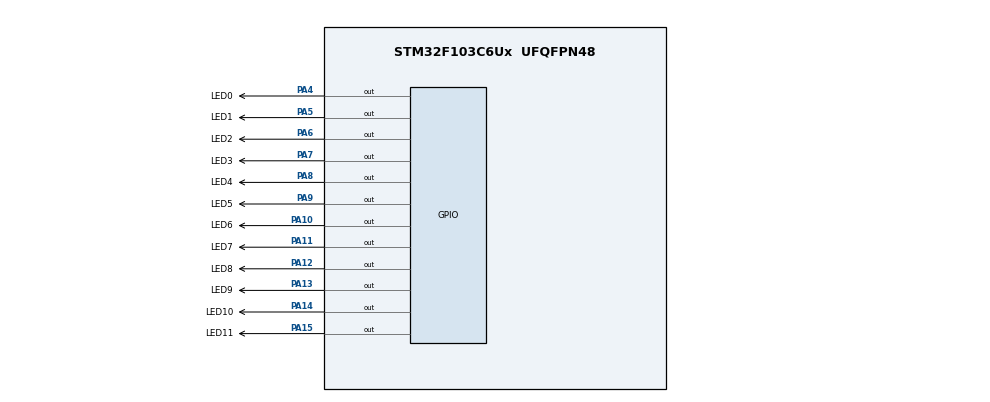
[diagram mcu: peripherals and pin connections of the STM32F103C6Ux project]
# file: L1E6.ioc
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Mcu.Family=STM32F1
Mcu.Name=STM32F103C6Ux
Mcu.Package=UFQFPN48
NVIC.PriorityGroup=NVIC_PRIORITYGROUP_4
PA10.GPIO_Label=LED6
PA10.Signal=GPIO_Output
PA11.GPIO_Label=LED7
PA11.Signal=GPIO_Output
PA12.GPIO_Label=LED8
PA12.Signal=GPIO_Output
PA13.GPIO_Label=LED9
PA13.Signal=GPIO_Output
PA14.GPIO_Label=LED10
PA14.Signal=GPIO_Output
PA15.GPIO_Label=LED11
PA15.Signal=GPIO_Output
PA4.GPIO_Label=LED0
PA4.Signal=GPIO_Output
PA5.GPIO_Label=LED1
PA5.Signal=GPIO_Output
PA6.GPIO_Label=LED2
PA6.Signal=GPIO_Output
PA7.GPIO_Label=LED3
PA7.Signal=GPIO_Output
PA8.GPIO_Label=LED4
PA8.Signal=GPIO_Output
PA9.GPIO_Label=LED5
PA9.Signal=GPIO_Output
ProjectManager.HeapSize=0x200
ProjectManager.StackSize=0x400
ProjectManager.TargetToolchain=STM32CubeIDE
RCC.APB1Freq_Value=8000000
RCC.APB2Freq_Value=8000000
VP_SYS_VS_ND.Mode=No_Debug
board=custom

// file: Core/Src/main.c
/* USER CODE BEGIN Header */
/**
  ******************************************************************************
  * @file           : main.c
  * @brief          : Main program body
  ******************************************************************************
  * @attention
  *
  * <h2><center>&copy; Copyright (c) 2023 STMicroelectronics.
  * All rights reserved.</center></h2>
  *
  * This software component is licensed by ST under BSD 3-Clause license,
  * the "License"; You may not use this file except in compliance with the
  * License. You may obtain a copy of the License at:
  *                        opensource.org/licenses/BSD-3-Clause
  *
  ******************************************************************************
  */
/* USER CODE END Header */
#include "main.h"

void SystemClock_Config(void);
static void MX_GPIO_Init(void);
/* USER CODE BEGIN PFP */
void testClock(int);
/* USER CODE END PFP */

int main(void)
{

  /* MCU Configuration--------------------------------------------------------*/

  /* Reset of all peripherals, Initializes the Flash interface and the Systick. */
  HAL_Init();

  /* Configure the system clock */
  SystemClock_Config();

  /* Initialize all configured peripherals */
  MX_GPIO_Init();

  /* Infinite loop */
  /* USER CODE BEGIN WHILE */
  int num = 0;
  HAL_GPIO_WritePin(GPIOA , LED1_Pin | LED2_Pin | LED3_Pin | LED4_Pin | LED5_Pin |
  					LED6_Pin | LED7_Pin | LED8_Pin | LED9_Pin | LED10_Pin | LED11_Pin , GPIO_PIN_SET);

  while (1)
  {
    /* USER CODE END WHILE */
	  if (num >= 12) num = 0;
	  testClock(num++);
	  HAL_Delay(200);
  }
}

void SystemClock_Config(void)
{
  RCC_OscInitTypeDef RCC_OscInitStruct = {0};
  RCC_ClkInitTypeDef RCC_ClkInitStruct = {0};

  /** Initializes the RCC Oscillators according to the specified parameters
  * in the RCC_OscInitTypeDef structure.
  */
  RCC_OscInitStruct.OscillatorType = RCC_OSCILLATORTYPE_HSI;
  RCC_OscInitStruct.HSIState = RCC_HSI_ON;
  RCC_OscInitStruct.HSICalibrationValue = RCC_HSICALIBRATION_DEFAULT;
  RCC_OscInitStruct.PLL.PLLState = RCC_PLL_NONE;
  if (HAL_RCC_OscConfig(&RCC_OscInitStruct) != HAL_OK)
  {
    Error_Handler();
  }
  /** Initializes the CPU, AHB and APB buses clocks
  */
  RCC_ClkInitStruct.ClockType = RCC_CLOCKTYPE_HCLK|RCC_CLOCKTYPE_SYSCLK
                              |RCC_CLOCKTYPE_PCLK1|RCC_CLOCKTYPE_PCLK2;
  RCC_ClkInitStruct.SYSCLKSource = RCC_SYSCLKSOURCE_HSI;
  RCC_ClkInitStruct.AHBCLKDivider = RCC_SYSCLK_DIV1;
  RCC_ClkInitStruct.APB1CLKDivider = RCC_HCLK_DIV1;
  RCC_ClkInitStruct.APB2CLKDivider = RCC_HCLK_DIV1;

  if (HAL_RCC_ClockConfig(&RCC_ClkInitStruct, FLASH_LATENCY_0) != HAL_OK)
  {
    Error_Handler();
  }
}

static void MX_GPIO_Init(void)
{
  GPIO_InitTypeDef GPIO_InitStruct = {0};

  /* GPIO Ports Clock Enable */
  __HAL_RCC_GPIOA_CLK_ENABLE();

  /*Configure GPIO pin Output Level */
  HAL_GPIO_WritePin(GPIOA, LED0_Pin|LED1_Pin|LED2_Pin|LED3_Pin
                          |LED4_Pin|LED5_Pin|LED6_Pin|LED7_Pin
                          |LED8_Pin|LED9_Pin|LED10_Pin|LED11_Pin, GPIO_PIN_RESET);

  /*Configure GPIO pins : LED0_Pin LED1_Pin LED2_Pin LED3_Pin
                           LED4_Pin LED5_Pin LED6_Pin LED7_Pin
                           LED8_Pin LED9_Pin LED10_Pin LED11_Pin */
  GPIO_InitStruct.Pin = LED0_Pin|LED1_Pin|LED2_Pin|LED3_Pin
                          |LED4_Pin|LED5_Pin|LED6_Pin|LED7_Pin
                          |LED8_Pin|LED9_Pin|LED10_Pin|LED11_Pin;
  GPIO_InitStruct.Mode = GPIO_MODE_OUTPUT_PP;
  GPIO_InitStruct.Pull = GPIO_NOPULL;
  GPIO_InitStruct.Speed = GPIO_SPEED_FREQ_LOW;
  HAL_GPIO_Init(GPIOA, &GPIO_InitStruct);

}

/* USER CODE BEGIN 4 */
void testClock(int num){
	switch(num){
		case 0:
			HAL_GPIO_WritePin(GPIOA , LED0_Pin , GPIO_PIN_RESET);
			HAL_GPIO_WritePin(GPIOA , LED1_Pin | LED2_Pin | LED3_Pin | LED4_Pin | LED5_Pin |
								LED6_Pin | LED7_Pin | LED8_Pin | LED9_Pin | LED10_Pin | LED11_Pin , GPIO_PIN_SET);
			break;

		case 1:
			HAL_GPIO_WritePin(GPIOA , LED1_Pin , GPIO_PIN_RESET);
			HAL_GPIO_WritePin(GPIOA , LED0_Pin | LED2_Pin | LED3_Pin | LED4_Pin | LED5_Pin |
								LED6_Pin | LED7_Pin | LED8_Pin | LED9_Pin | LED10_Pin | LED11_Pin , GPIO_PIN_SET);
			break;

		case 2:
			HAL_GPIO_WritePin(GPIOA , LED2_Pin , GPIO_PIN_RESET);
			HAL_GPIO_WritePin(GPIOA , LED0_Pin | LED1_Pin | LED3_Pin | LED4_Pin | LED5_Pin |
								LED6_Pin | LED7_Pin | LED8_Pin | LED9_Pin | LED10_Pin | LED11_Pin , GPIO_PIN_SET);
			break;

		case 3:
			HAL_GPIO_WritePin(GPIOA , LED3_Pin , GPIO_PIN_RESET);
			HAL_GPIO_WritePin(GPIOA , LED0_Pin | LED1_Pin | LED2_Pin | LED4_Pin | LED5_Pin |
								LED6_Pin | LED7_Pin | LED8_Pin | LED9_Pin | LED10_Pin | LED11_Pin , GPIO_PIN_SET);
			break;

		case 4:
			HAL_GPIO_WritePin(GPIOA , LED4_Pin , GPIO_PIN_RESET);
			HAL_GPIO_WritePin(GPIOA , LED0_Pin | LED1_Pin | LED2_Pin | LED3_Pin | LED5_Pin |
								LED6_Pin | LED7_Pin | LED8_Pin | LED9_Pin | LED10_Pin | LED11_Pin , GPIO_PIN_SET);
			break;

		case 5:
			HAL_GPIO_WritePin(GPIOA , LED5_Pin , GPIO_PIN_RESET);
			HAL_GPIO_WritePin(GPIOA , LED0_Pin | LED1_Pin | LED2_Pin | LED3_Pin | LED4_Pin |
								LED6_Pin | LED7_Pin | LED8_Pin | LED9_Pin | LED10_Pin | LED11_Pin , GPIO_PIN_SET);
			break;

		case 6:
			HAL_GPIO_WritePin(GPIOA , LED6_Pin , GPIO_PIN_RESET);
			HAL_GPIO_WritePin(GPIOA , LED0_Pin | LED1_Pin | LED2_Pin | LED3_Pin | LED4_Pin |
								LED5_Pin | LED7_Pin | LED8_Pin | LED9_Pin | LED10_Pin | LED11_Pin , GPIO_PIN_SET);
			break;

		case 7:
			HAL_GPIO_WritePin(GPIOA , LED7_Pin , GPIO_PIN_RESET);
			HAL_GPIO_WritePin(GPIOA , LED0_Pin | LED1_Pin | LED2_Pin | LED3_Pin | LED4_Pin |
								LED5_Pin | LED6_Pin | LED8_Pin | LED9_Pin | LED10_Pin | LED11_Pin , GPIO_PIN_SET);
			break;

		case 8:
			HAL_GPIO_WritePin(GPIOA , LED8_Pin , GPIO_PIN_RESET);
			HAL_GPIO_WritePin(GPIOA , LED0_Pin | LED1_Pin | LED2_Pin | LED3_Pin | LED4_Pin |
								LED5_Pin | LED6_Pin | LED7_Pin | LED9_Pin | LED10_Pin | LED11_Pin , GPIO_PIN_SET);
			break;

		case 9:
			HAL_GPIO_WritePin(GPIOA , LED9_Pin , GPIO_PIN_RESET);
			HAL_GPIO_WritePin(GPIOA , LED0_Pin | LED1_Pin | LED2_Pin | LED3_Pin | LED4_Pin |
								LED5_Pin | LED6_Pin | LED7_Pin | LED8_Pin | LED10_Pin | LED11_Pin , GPIO_PIN_SET);
			break;

		case 10:
			HAL_GPIO_WritePin(GPIOA , LED10_Pin , GPIO_PIN_RESET);
			HAL_GPIO_WritePin(GPIOA , LED0_Pin | LED1_Pin | LED2_Pin | LED3_Pin | LED4_Pin |
								LED5_Pin | LED6_Pin | LED7_Pin | LED8_Pin | LED9_Pin | LED11_Pin , GPIO_PIN_SET);
			break;

		case 11:
			HAL_GPIO_WritePin(GPIOA , LED11_Pin , GPIO_PIN_RESET);
			HAL_GPIO_WritePin(GPIOA , LED0_Pin | LED1_Pin | LED2_Pin | LED3_Pin | LED4_Pin |
								LED5_Pin | LED6_Pin | LED7_Pin | LED8_Pin | LED9_Pin | LED10_Pin , GPIO_PIN_SET);
			break;

		default:
			HAL_GPIO_WritePin(GPIOA , LED0_Pin | LED1_Pin | LED2_Pin | LED3_Pin | LED4_Pin |
							LED5_Pin | LED6_Pin | LED7_Pin | LED8_Pin | LED9_Pin | LED10_Pin | LED11_Pin , GPIO_PIN_SET);
			break;
	}
}
/* USER CODE END 4 */

void Error_Handler(void)
{
  __disable_irq();
  while (1)
  {
  }
}

/************************ (C) COPYRIGHT STMicroelectronics *****END OF FILE****/
